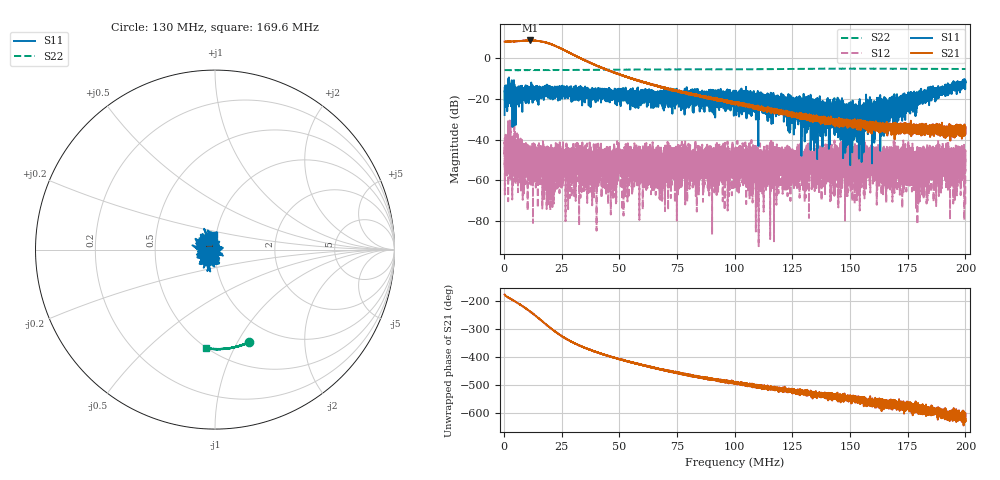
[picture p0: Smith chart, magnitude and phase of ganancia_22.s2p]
# Hz S DB R 50
! CMT, M5065, 19127446, 24.2.4/2
! Date: 11/8/2024 3:58:07 PM
! Data: Format (Calibration Info)
! Freq	S11:dB/Ang(F2)	S21:dB/Ang(F2)	S12:dB/Ang(F2)	S22:dB/Ang(F2)
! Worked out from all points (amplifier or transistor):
!   9000 points, 300 kHz to 200 MHz, reference 50 ohm
!   highest |S21| = 8.7 dB at 11.33 MHz (marker M1)
!   |S21| within 3 dB of that: start of sweep to 22.82 MHz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
!   unconditionally stable (mu >= 1): start of sweep to end of sweep
!   at 33.59 MHz: K = 124.21, MAG = 1.3 dB, |S12| = -50.7 dB
!   at 100.2 MHz: K = 1336.10, MAG = -20.8 dB, |S12| = -49.2 dB
!   at 200 MHz: K = 9808.96, MAG = -32.1 dB, |S12| = -55.6 dB
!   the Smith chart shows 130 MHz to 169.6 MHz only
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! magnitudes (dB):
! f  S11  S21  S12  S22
! 300 kHz  -27.9  8.1  -47.1  -5.8
! 1.321 MHz  -22.8  8.2  -46.8  -5.8
! 11.33 MHz  -16.0  8.7  -45.7  -5.8
! 17.99 MHz  -18.3  7.8  -53.2  -5.8
! 33.59 MHz  -15.8  -0.2  -50.7  -5.7
! 66.87 MHz  -23.9  -13.8  -52.4  -5.5
! 100.2 MHz  -19.2  -22.4  -49.2  -5.4
! 133.4 MHz  -40.2  -30.9  -49.3  -5.2
! 144.5 MHz  -23.9  -32.3  -52.6  -5.1
! 148 MHz  -24.8  -31.0  -50.3  -5.1
! 151.5 MHz  -29.8  -33.8  -47.8  -5.1
! 153.5 MHz  -31.7  -33.9  -54.3  -5.1
! 154.9 MHz  -31.8  -33.0  -45.8  -5.1
! 157.3 MHz  -26.7  -31.7  -49.0  -5.1
! 160.1 MHz  -25.7  -33.1  -46.9  -5.1
! 166.7 MHz  -24.6  -34.3  -63.4  -5.2
! 171.5 MHz  -19.2  -35.0  -47.9  -5.2
! 179.3 MHz  -20.2  -33.4  -53.7  -5.2
! 190.5 MHz  -15.0  -34.3  -48.1  -5.3
! 195.4 MHz  -16.0  -34.8  -47.7  -5.3
! 197.8 MHz  -13.0  -34.8  -46.1  -5.3
! 200 MHz  -11.1  -33.9  -55.6  -5.3
